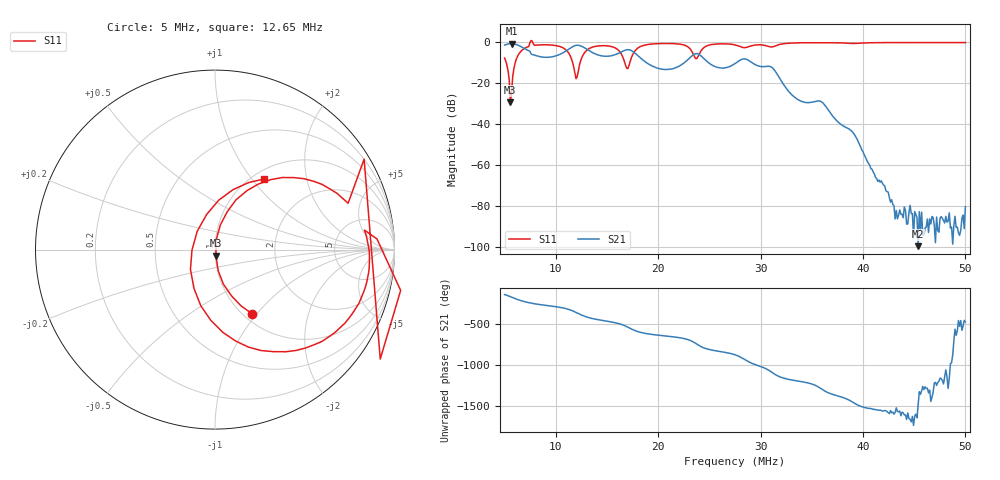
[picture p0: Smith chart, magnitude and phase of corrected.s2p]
! S11/S21 only; reverse parameters are placeholders. Device calibration unverified.
! [Saver CAL applied] C:\Users\aknya\MyProjects\rf-simulator\calibration2.cal | Ideal standards assumed | Input: NanoVNA F V2 profile | COM3 | 2026-09-08T12:32:59.3931739-04:00 | device calibration unverified
# HZ S RI R 50
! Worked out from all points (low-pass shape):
!   401 points, 5 MHz to 50 MHz, reference 50 ohm
!   highest |S21| = -0.65 dB at 5.675 MHz (marker M1); lowest = -99.8 dB at 45.39 MHz (marker M2)
!   |S21| within 3 dB of the highest: start of sweep to 7.148 MHz; 11.19 MHz to 13.1 MHz (1.909 MHz wide, 15.7 % of centre)
!   lowest |S11| = -29.4 dB at 5.562 MHz (marker M3), VSWR 1.07, Z = 50.4 - j3.38 ohm
!   |S11| at or under -10 dB: 5.157 MHz to 6.039 MHz (882.6 kHz wide, 15.8 % of centre); 11.65 MHz to 12.38 MHz (731.2 kHz wide, 6.09 % of centre); 16.73 MHz to 17.23 MHz (493.6 kHz wide, 2.91 % of centre)
!   S12 and S22 are empty: the file has one direction only
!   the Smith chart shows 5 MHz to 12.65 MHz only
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5000000  0.2047 -0.356  -0.7166 -0.4666  0 0  0 0
5562500  0.00498 -0.0335  -0.916 -0.1225  0 0  0 0
5675000  0.00652 0.0533  -0.9274 -0.0311  0 0  0 0
6575000  0.4355 0.4013  -0.6014 0.5042  0 0  0 0
7700000  1.034 -0.2274  -0.1444 0.4771  0 0  0 0
1.09625e7  0.328 -0.5686  0.4365 0.4161  0 0  0 0
1.1975e7  -0.1283 -0.00303  0.8361 -0.0477  0 0  0 0
1.25375e7  0.1872 0.3733  0.6371 -0.4717  0 0  0 0
1.4675e7  0.8053 -0.1752  -0.1015 -0.4445  0 0  0 0
1.61375e7  0.3019 -0.553  -0.4012 -0.3563  0 0  0 0
1.6925e7  -0.2213 -0.0672  -0.6509 -0.0554  0 0  0 0
1.7825e7  0.3576 0.546  -0.3494 0.3814  0 0  0 0
2.0075e7  0.926 0.00575  0.0384 0.2232  0 0  0 0
2.35625e7  0.3624 -0.2354  0.5059 -0.0957  0 0  0 0
2.75e7  0.7283 -0.4559  -0.2743 -0.1216  0 0  0 0
2.89625e7  0.7202 -0.3421  -0.123 0.3183  0 0  0 0
3.0875e7  0.6434 -0.435  0.2521 0.0472  0 0  0 0
3.50375e7  0.6991 -0.671  -0.03 -0.0163  0 0  0 0
3.8975e7  0.5314 -0.7651  0.00628 -0.000943  0 0  0 0
4.2575e7  0.4438 -0.871  -0.000134 -8.28e-05  0 0  0 0
4.53875e7  0.3316 -0.9233  7.91e-06 -6.54e-06  0 0  0 0
5e7  0.157 -0.9668  -4.38e-05 -8.38e-05  0 0  0 0
